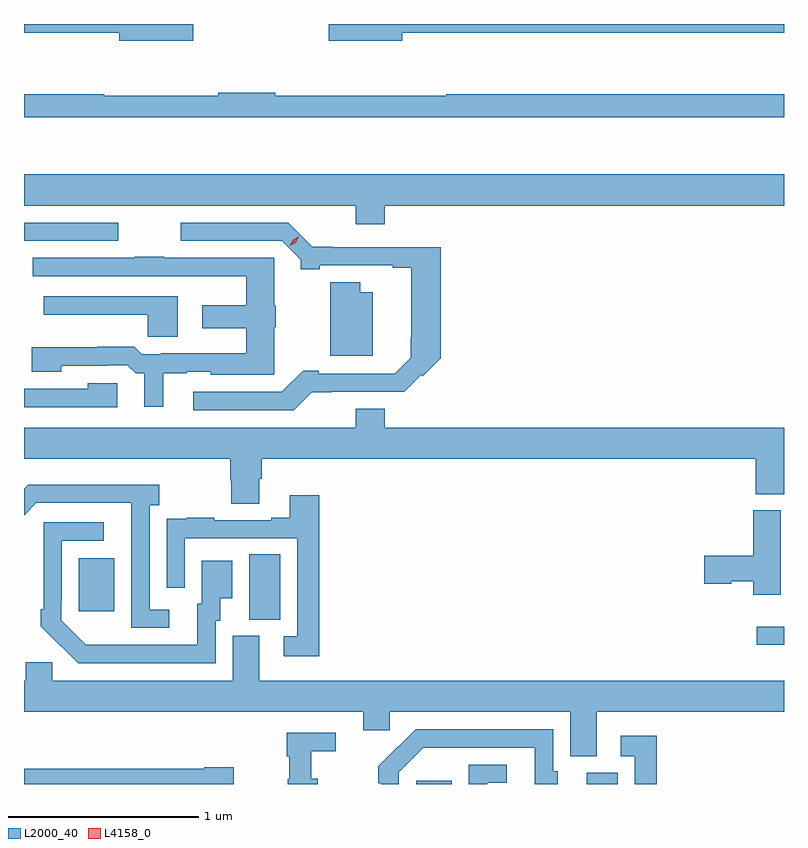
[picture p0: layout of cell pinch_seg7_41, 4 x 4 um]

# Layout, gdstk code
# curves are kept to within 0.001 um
import gdstk
lib = gdstk.Library(unit=1e-6, precision=1e-09)
def R(c, l, rs):  # rectangles x0, y0, x1, y1
    for r in rs: c.add(gdstk.rectangle(r[:2], r[2:], *l))
def P(c, l, *ps):  # polygons
    for p in ps: c.add(gdstk.Polygon(p, *l))
L2000_40 = (2000, 40)
L4158_0 = (4158, 0)

pinch_seg7_41 = lib.new_cell('pinch_seg7_41')
R(pinch_seg7_41, L2000_40, [(1046.915,1058.844,1047.103,1058.86), (1047.812,1058.844,1047.976,1058.904), (1048.707,1059.576,1048.851,1059.672), (1046.036,1059.709,1046.2,1060.052), (1045.139,1059.753,1045.327,1060.033), (1044.851,1061.703,1045.348,1061.799)])
P(pinch_seg7_41, L2000_40, [(1046.842,1062.798),(1048.851,1062.798),(1048.851,1062.844),(1046.454,1062.844),(1046.454,1062.755),(1046.842,1062.755)],
  [(1045.741,1062.844),(1044.851,1062.844),(1044.851,1062.798),(1045.352,1062.798),(1045.352,1062.755),(1045.741,1062.755)],
  [(1048.851,1062.475),(1047.074,1062.475),(1047.074,1062.467),(1046.174,1062.467),(1046.174,1062.482),(1045.874,1062.482),(1045.874,1062.467),(1045.274,1062.467),(1045.274,1062.475),(1044.851,1062.475),(1044.851,1062.354),(1048.851,1062.354)],
  [(1046.75,1061.888),(1048.851,1061.888),(1048.851,1062.052),(1044.851,1062.052),(1044.851,1061.888),(1046.597,1061.888),(1046.597,1061.789),(1046.75,1061.789)],
  [(1046.366,1060.907),(1046.853,1060.908),(1046.943,1060.999),(1046.95,1060.991),(1047.044,1061.085),(1047.044,1061.67),(1046.473,1061.67),(1046.473,1061.672),(1046.369,1061.672),(1046.241,1061.799),(1045.677,1061.799),(1045.677,1061.703),(1046.208,1061.703),(1046.307,1061.604),(1046.307,1061.554),(1046.407,1061.554),(1046.407,1061.574),(1046.792,1061.574),(1046.792,1061.562),(1046.888,1061.562),(1046.888,1061.194),(1046.886,1061.194),(1046.886,1061.088),(1046.802,1061.004),(1046.401,1061.004),(1046.401,1061.02),(1046.32,1061.02),(1046.208,1060.908),(1045.743,1060.908),(1045.743,1060.812),(1046.271,1060.812)],
  [(1045.585,1061.006),(1045.707,1061.006),(1045.707,1061.013),(1045.833,1061.013),(1045.833,1060.997),(1046.167,1060.997),(1046.167,1061.247),(1046.176,1061.247),(1046.176,1061.361),(1046.167,1061.361),(1046.167,1061.613),(1045.589,1061.613),(1045.589,1061.618),(1045.435,1061.618),(1045.435,1061.613),(1044.897,1061.613),(1044.897,1061.517),(1046.02,1061.516),(1046.02,1061.365),(1045.788,1061.365),(1045.788,1061.243),(1046.02,1061.243),(1046.02,1061.11),(1045.57,1061.11),(1045.57,1061.106),(1045.47,1061.106),(1045.43,1061.146),(1045.237,1061.146),(1045.237,1061.143),(1044.891,1061.143),(1044.891,1061.015),(1045.047,1061.015),(1045.047,1061.046),(1045.295,1061.046),(1045.295,1061.049),(1045.395,1061.049),(1045.439,1061.006),(1045.484,1061.006),(1045.484,1060.83),(1045.585,1060.83)],
  [(1046.686,1061.431),(1046.62,1061.431),(1046.62,1061.485),(1046.462,1061.485),(1046.462,1061.099),(1046.686,1061.099)],
  [(1045.66,1061.412),(1044.954,1061.412),(1044.954,1061.315),(1045.502,1061.315),(1045.502,1061.199),(1045.66,1061.199)],
  [(1045.342,1060.954),(1045.186,1060.954),(1045.186,1060.923),(1044.851,1060.923),(1044.851,1060.827),(1045.342,1060.827)],
  [(1046.089,1060.45),(1046.102,1060.45),(1046.102,1060.556),(1048.703,1060.556),(1048.703,1060.369),(1048.851,1060.369),(1048.851,1060.72),(1046.75,1060.72),(1046.75,1060.819),(1046.597,1060.819),(1046.597,1060.72),(1044.851,1060.72),(1044.851,1060.556),(1045.937,1060.556),(1045.937,1060.443),(1045.942,1060.443),(1045.942,1060.318),(1046.089,1060.318)],
  [(1045.615,1059.762),(1045.512,1059.762),(1045.512,1060.31),(1045.564,1060.31),(1045.564,1060.42),(1044.874,1060.42),(1044.851,1060.397),(1044.851,1060.259),(1044.915,1060.323),(1045.416,1060.323),(1045.416,1059.666),(1045.615,1059.666)],
  [(1046.405,1060.363),(1046.249,1060.363),(1046.249,1060.246),(1046.153,1060.246),(1046.153,1060.233),(1045.853,1060.233),(1045.853,1060.246),(1045.705,1060.246),(1045.705,1060.239),(1045.603,1060.239),(1045.603,1060.13),(1045.602,1060.13),(1045.602,1059.876),(1045.698,1059.876),(1045.698,1060.137),(1046.289,1060.137),(1046.289,1059.621),(1046.217,1059.621),(1046.217,1059.516),(1046.405,1059.516)],
  [(1048.834,1060.284),(1048.688,1060.284),(1048.688,1060.046),(1048.43,1060.046),(1048.43,1059.899),(1048.574,1059.899),(1048.574,1059.911),(1048.688,1059.911),(1048.688,1059.84),(1048.834,1059.84)],
  [(1045.86,1059.702),(1045.885,1059.702),(1045.885,1059.821),(1045.948,1059.821),(1045.948,1060.018),(1045.787,1060.018),(1045.787,1059.792),(1045.763,1059.792),(1045.763,1059.576),(1045.176,1059.577),(1045.047,1059.705),(1045.047,1059.805),(1045.05,1059.805),(1045.05,1060.125),(1045.27,1060.125),(1045.27,1060.221),(1044.954,1060.221),(1044.954,1059.763),(1044.939,1059.763),(1044.939,1059.675),(1045.136,1059.48),(1045.86,1059.48)],
  [(1047.865,1059.224),(1048.851,1059.224),(1048.851,1059.388),(1046.089,1059.388),(1046.089,1059.624),(1045.949,1059.624),(1045.949,1059.388),(1044.999,1059.388),(1044.999,1059.486),(1044.86,1059.486),(1044.86,1059.388),(1044.851,1059.388),(1044.851,1059.224),(1046.636,1059.224),(1046.636,1059.126),(1046.775,1059.126),(1046.775,1059.224),(1047.725,1059.224),(1047.725,1058.989),(1047.865,1058.989)],
  [(1046.823,1058.907),(1046.952,1059.036),(1047.539,1059.036),(1047.539,1058.844),(1047.661,1058.844),(1047.661,1058.91),(1047.636,1058.91),(1047.636,1059.132),(1046.912,1059.132),(1046.715,1058.937),(1046.715,1058.849),(1046.73,1058.849),(1046.73,1058.844),(1046.823,1058.844)],
  [(1046.398,1058.872),(1046.362,1058.872),(1046.362,1059.017),(1046.491,1059.017),(1046.491,1059.114),(1046.233,1059.114),(1046.233,1058.99),(1046.248,1058.99),(1046.248,1058.868),(1046.24,1058.868),(1046.24,1058.844),(1046.398,1058.844)],
  [(1048.181,1059.097),(1047.993,1059.097),(1047.993,1058.991),(1048.065,1058.991),(1048.065,1058.844),(1048.181,1058.844)],
  [(1047.288,1058.85),(1047.391,1058.85),(1047.391,1058.946),(1047.192,1058.946),(1047.192,1058.844),(1047.288,1058.844)],
  [(1045.954,1058.931),(1045.8,1058.931),(1045.8,1058.923),(1044.851,1058.923),(1044.851,1058.844),(1045.954,1058.844)])
P(pinch_seg7_41, L4158_0, [(1046.249,1061.678),(1046.249,1061.678),(1046.267,1061.708),(1046.298,1061.723),(1046.298,1061.723),(1046.298,1061.723),(1046.28,1061.693),(1046.249,1061.678)])

lib.write_gds('pinch_seg7_41.gds')
